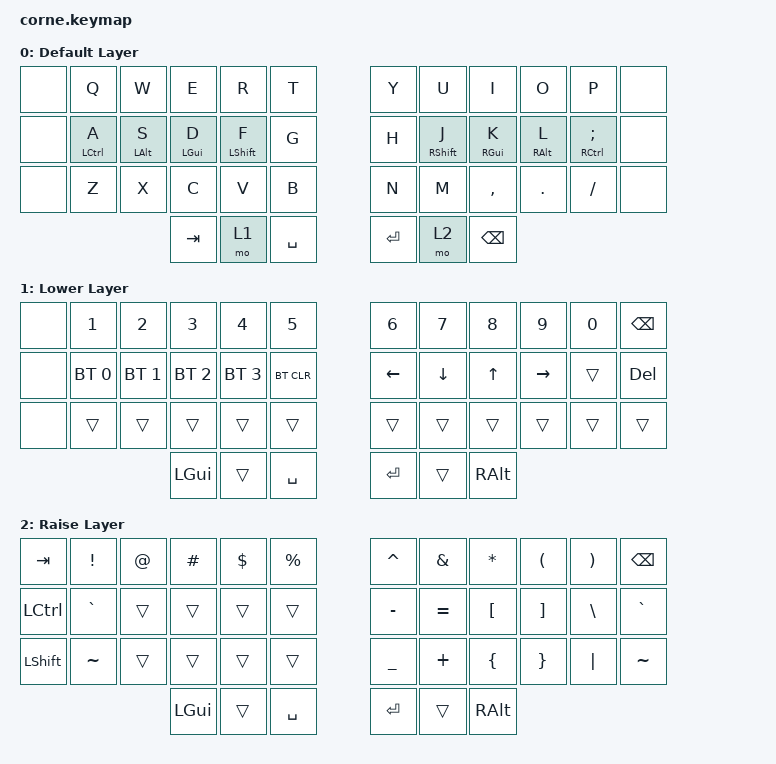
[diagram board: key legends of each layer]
/*
 * Copyright (c) 2020 The ZMK Contributors
 *
 * SPDX-License-Identifier: MIT
 */

#include <behaviors.dtsi>
#include <dt-bindings/zmk/bt.h>
#include <dt-bindings/zmk/keys.h>

/ {
    combos {
        compatible = "zmk,combos";

        ecs {
            bindings = <&kp ESCAPE>;
            key-positions = <19 20 19 20>;
            layers = <0>;
            timeout-ms = <500>;
        };
    };

    keymap {
        compatible = "zmk,keymap";

        default_layer {
            display-name = "Default Layer";

            // -----------------------------------------------------------------------------------------
            // |  TAB |  Q  |  W  |  E  |  R  |  T  |   |  Y  |  U   |  I  |  O  |  P  | BSPC |
            // | CTRL |  A  |  S  |  D  |  F  |  G  |   |  H  |  J   |  K  |  L  |  ;  |  '   |
            // | SHFT |  Z  |  X  |  C  |  V  |  B  |   |  N  |  M   |  ,  |  .  |  /  | ESC  |
            //                    | GUI | LWR | SPC |   | ENT | RSE  | ALT |

            bindings = <
&none  &kp Q               &kp W           &kp E           &kp R             &kp T        &kp Y    &kp U        &kp I            &kp O            &kp P                &none
&none  &mt LEFT_CONTROL A  &mt LEFT_ALT S  &mt LEFT_GUI D  &mt LEFT_SHIFT F  &kp G        &kp H    &mt RSHFT J  &mt RIGHT_GUI K  &mt RIGHT_ALT L  &mt RCTRL SEMICOLON  &none
&none  &kp Z               &kp X           &kp C           &kp V             &kp B        &kp N    &kp M        &kp COMMA        &kp DOT          &kp FSLH             &none
                                           &kp TAB         &mo 1             &kp SPACE    &kp RET  &mo 2        &kp BACKSPACE
            >;
        };

        lower_layer {
            display-name = "Lower Layer";

            // -----------------------------------------------------------------------------------------
            // |  TAB |  1  |  2  |  3  |  4  |  5  |   |  6  |  7  |  8  |  9  |  0  | BSPC |
            // | BTCLR| BT1 | BT2 | BT3 | BT4 | BT5 |   | LFT | DWN |  UP | RGT |     |      |
            // | SHFT |     |     |     |     |     |   |     |     |     |     |     |      |
            //                    | GUI |     | SPC |   | ENT |     | ALT |

            bindings = <
&none  &kp N1        &kp N2        &kp N3        &kp N4        &kp N5        &kp N6    &kp N7    &kp N8    &kp N9     &kp N0  &kp BSPC
&none  &bt BT_SEL 0  &bt BT_SEL 1  &bt BT_SEL 2  &bt BT_SEL 3  &bt BT_CLR    &kp LEFT  &kp DOWN  &kp UP    &kp RIGHT  &trans  &kp DEL
&none  &trans        &trans        &trans        &trans        &trans        &trans    &trans    &trans    &trans     &trans  &trans
                                   &kp LGUI      &trans        &kp SPACE     &kp RET   &trans    &kp RALT
            >;
        };

        raise_layer {
            display-name = "Raise Layer";

            // -----------------------------------------------------------------------------------------
            // |  TAB |  !  |  @  |  #  |  $  |  %  |   |  ^  |  &  |  *  |  (  |  )  | BSPC |
            // | CTRL |     |     |     |     |     |   |  -  |  =  |  [  |  ]  |  \  |  `   |
            // | SHFT |     |     |     |     |     |   |  _  |  +  |  {  |  }  | "|" |  ~   |
            //                    | GUI |     | SPC |   | ENT |     | ALT |

            bindings = <
&kp TAB    &kp EXCL   &kp AT  &kp HASH  &kp DLLR  &kp PRCNT    &kp CARET  &kp AMPS   &kp ASTRK  &kp LPAR  &kp RPAR  &kp BSPC
&kp LCTRL  &kp GRAVE  &trans  &trans    &trans    &trans       &kp MINUS  &kp EQUAL  &kp LBKT   &kp RBKT  &kp BSLH  &kp GRAVE
&kp LSHFT  &kp TILDE  &trans  &trans    &trans    &trans       &kp UNDER  &kp PLUS   &kp LBRC   &kp RBRC  &kp PIPE  &kp TILDE
                              &kp LGUI  &trans    &kp SPACE    &kp RET    &trans     &kp RALT
            >;
        };
    };
};
